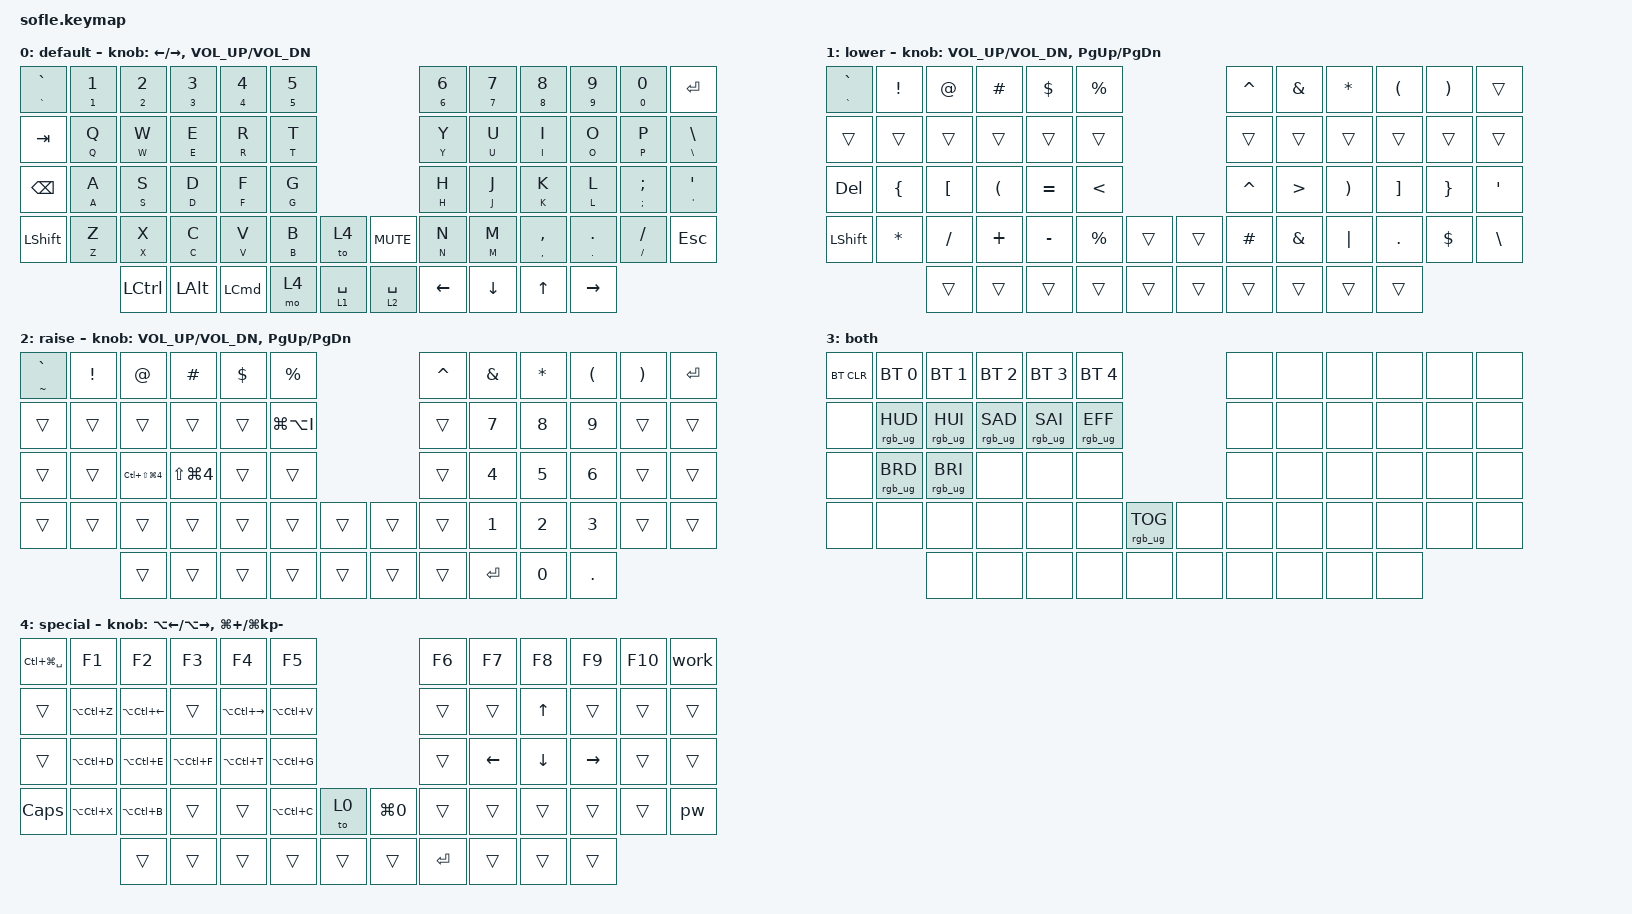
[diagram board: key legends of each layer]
/*
 * Copyright (c) 2020 The ZMK Contributors
 *
 * SPDX-License-Identifier: MIT
 */

#include <behaviors.dtsi>
#include <dt-bindings/zmk/bt.h>
#include <dt-bindings/zmk/keys.h>
#include <dt-bindings/zmk/rgb.h>

/ {
    macros {
        shift: with_lshift {
            compatible = "zmk,behavior-macro-one-param";
            #binding-cells = <1>;
            bindings =
                <&macro_press>,
                <&kp LSHFT>,
                <&macro_tap>,
                <&macro_param_1to1 &kp MACRO_PLACEHOLDER>,
                <&macro_release>,
                <&kp LSHFT>;

            label = "KEY_PRESS_WITH_LEFT_SHIFT_MODIFIER";
        };

        work: work {
            compatible = "zmk,behavior-macro";
            #binding-cells = <0>;
            bindings = <&kp E &kp M &kp M &kp A &kp L &kp Y &kp N &kp H &kp O &kp P &kp E &kp M &kp U &kp N &kp N0 &kp N2 &kp N1 &kp N3 &kp N2 &kp N4 &kp ENTER>;
            label = "WORK";
        };

        pw: pw {
            compatible = "zmk,behavior-macro";
            #binding-cells = <0>;
            bindings = <&kp A &kp S &kp D &kp F &kp G &kp H &kp J &kp K &kp L &kp SEMI &kp SQT &kp ENTER>;
            label = "PW";
        };
    };

    behaviors {
        as_ht: autoshift_hold_tap {
            compatible = "zmk,behavior-hold-tap";
            label = "AUTOSHIFT_HOLD_TAP";
            bindings = <&shift>, <&kp>;

            #binding-cells = <2>;
            tapping-term-ms = <190>;
            flavor = "tap-preferred";
            quick-tap-ms = <0>;
        };
    };

    conditional_layers {
        compatible = "zmk,conditional-layers";

        both {
            if-layers = <1 2>;
            then-layer = <3>;
        };
    };

    combos { compatible = "zmk,combos"; };

    keymap {
        compatible = "zmk,keymap";

        default_layer {
            label = "default";

            // ------------------------------------------------------------------------------------------------------------
            // |   `   |  1  |  2  |  3   |  4   |  5   |                   |  6   |  7    |  8    |  9   |   0   |       |
            // |  ESC  |  Q  |  W  |  E   |  R   |  T   |                   |  Y   |  U    |  I    |  O   |   P   | BKSPC |
            // |  TAB  |  A  |  S  |  D   |  F   |  G   |                   |  H   |  J    |  K    |  L   |   ;   |   '   |
            // | SHIFT |  Z  |  X  |  C   |  V   |  B   |  MUTE  |  |       |  N   |  M    |  ,    |  .   |   /   | SHIFT |
            //               | GUI | ALT  | CTRL | LOWER|  ENTER |  | SPACE | RAISE| CTRL  | ALT   | GUI  |

            bindings = <
&as_ht GRAVE GRAVE  &as_ht N1 N1  &as_ht N2 N2  &as_ht N3 N3  &as_ht N4 N4      &as_ht N5 N5                              &as_ht N6 N6  &as_ht N7 N7  &as_ht N8 N8        &as_ht N9 N9    &as_ht N0 N0      &kp ENTER
&kp TAB             &as_ht Q Q    &as_ht W W    &as_ht E E    &as_ht R R        &as_ht T T                                &as_ht Y Y    &as_ht U U    &as_ht I I          &as_ht O O      &as_ht P P        &as_ht BACKSLASH BACKSLASH
&kp BACKSPACE       &as_ht A A    &as_ht S S    &as_ht D D    &as_ht F F        &as_ht G G                                &as_ht H H    &as_ht J J    &as_ht K K          &as_ht L L      &as_ht SEMI SEMI  &as_ht SQT SQT
&kp LSHFT           &as_ht Z Z    &as_ht X X    &as_ht C C    &as_ht V V        &as_ht B B    &to 4          &kp C_MUTE   &as_ht N N    &as_ht M M    &as_ht COMMA COMMA  &as_ht DOT DOT  &as_ht FSLH FSLH  &kp ESC
                                  &kp LCTRL     &kp LALT      &kp LEFT_COMMAND  &mo 4         &lt 1 SPACE    &lt 2 SPACE  &kp LEFT      &kp DOWN      &kp UP_ARROW        &kp RIGHT
            >;

            sensor-bindings =
                <&inc_dec_kp LEFT RIGHT>,
                <&inc_dec_kp C_VOL_UP C_VOL_DN>;
        };

        lower_layer {
            label = "lower";

            // ------------------------------------------------------------------------------------------------------------
            // |       |  F1 |  F2 |  F3  |  F4  |  F5  |                   |  F6  |  F7   |  F8   |  F9  |  F10  |  F11  |
            // |   `   |  1  |  2  |  3   |  4   |  5   |                   |  6   |  7    |  8    |  9   |   0   |  F12  |
            // |       |  !  |  @  |  #   |  $   |  %   |                   |  ^   |  &    |  *    |  (   |   )   |   |   |
            // |       |  =  |  -  |  +   |  {   |  }   |        |  |       |  [   |  ]    |  ;    |  :   |   \   |       |
            //               |     |      |      |      |        |  |       |      |       |       |      |

            bindings = <
&as_ht GRAVE GRAVE  &kp EXCLAMATION  &kp AT_SIGN       &kp HASH              &kp DOLLAR  &kp PERCENT                      &kp CARET  &kp AMPERSAND     &kp ASTERISK           &kp LEFT_PARENTHESIS  &kp RIGHT_PARENTHESIS  &trans
&trans              &trans           &trans            &trans                &trans      &trans                           &trans     &trans            &trans                 &trans                &trans                 &trans
&kp DELETE          &kp LEFT_BRACE   &kp LEFT_BRACKET  &kp LEFT_PARENTHESIS  &kp EQUAL   &kp LESS_THAN                    &kp CARET  &kp GREATER_THAN  &kp RIGHT_PARENTHESIS  &kp RBKT              &kp RIGHT_BRACE        &kp SINGLE_QUOTE
&kp LSHFT           &kp ASTERISK     &kp SLASH         &kp PLUS              &kp MINUS   &kp PERCENT    &trans    &trans  &kp HASH   &kp AMPERSAND     &kp PIPE               &kp PERIOD            &kp DOLLAR             &kp BACKSLASH
                                     &trans            &trans                &trans      &trans         &trans    &trans  &trans     &trans            &trans                 &trans
            >;

            sensor-bindings = <&inc_dec_kp C_VOL_UP C_VOL_DN &inc_dec_kp PG_UP PG_DN>;
        };

        raise_layer {
            label = "raise";

            // ------------------------------------------------------------------------------------------------------------
            // | BTCLR | BT1  | BT2  |  BT3  |  BT4  |  BT5 |                |      |      |       |      |       |       |
            // |       | INS  | PSCR | GUI   |       |      |                | PGUP |      |   ^   |      |       |       |
            // |       | ALT  | CTRL | SHIFT |       | CAPS |                | PGDN |   <- |   v   |  ->  |  DEL  | BKSPC |
            // |       | UNDO | CUT  | COPY  | PASTE |      |      |  |      |      |      |       |      |       |       |
            //                |      |       |       |      |      |  |      |      |      |       |      |

            bindings = <
&mt TILDE GRAVE  &kp EXCLAMATION  &kp AT_SIGN               &kp HASH              &kp DOLLAR  &kp PERCENT                      &kp CARET  &kp AMPERSAND  &kp ASTERISK  &kp LEFT_PARENTHESIS  &kp RIGHT_PARENTHESIS  &kp ENTER
&trans           &trans           &trans                    &trans                &trans      &kp LG(LA(I))                    &trans     &kp N7         &kp N8        &kp N9                &trans                 &trans
&trans           &trans           &kp LC(LS(LG(NUMBER_4)))  &kp LS(LG(NUMBER_4))  &trans      &trans                           &trans     &kp NUMBER_4   &kp N5        &kp NUMBER_6          &trans                 &trans
&trans           &trans           &trans                    &trans                &trans      &trans         &trans    &trans  &trans     &kp NUMBER_1   &kp NUMBER_2  &kp NUMBER_3          &trans                 &trans
                                  &trans                    &trans                &trans      &trans         &trans    &trans  &trans     &kp ENTER      &kp N0        &kp DOT
            >;

            sensor-bindings = <&inc_dec_kp C_VOL_UP C_VOL_DN &inc_dec_kp PG_UP PG_DN>;
        };

        both_layer {
            // ----------------------------------------------------------------------------------------------------------------------------
            // | BTCLR  |  BT1    |  BT2    |   BT3   |   BT4   |   BT5   |                  |      |      |       |      |       |       |
            // | EXTPWR | RGB_HUD | RGB_HUI | RGB_SAD | RGB_SAI | RGB_EFF |                  |      |      |       |      |       |       |
            // |        | RGB_BRD | RGB_BRI |         |         |         |                  |      |      |       |      |       |       |
            // |        |         |         |         |         |         | RGB_TOG | |      |      |      |       |      |       |       |
            //                    |         |         |         |         |         | |      |      |      |       |      |

            label = "both";
            bindings = <
&bt BT_CLR  &bt BT_SEL 0     &bt BT_SEL 1     &bt BT_SEL 2     &bt BT_SEL 3     &bt BT_SEL 4                               &none  &none  &none  &none  &none  &none
&none       &rgb_ug RGB_HUD  &rgb_ug RGB_HUI  &rgb_ug RGB_SAD  &rgb_ug RGB_SAI  &rgb_ug RGB_EFF                            &none  &none  &none  &none  &none  &none
&none       &rgb_ug RGB_BRD  &rgb_ug RGB_BRI  &none            &none            &none                                      &none  &none  &none  &none  &none  &none
&none       &none            &none            &none            &none            &none            &rgb_ug RGB_TOG    &none  &none  &none  &none  &none  &none  &none
                             &none            &none            &none            &none            &none              &none  &none  &none  &none  &none
            >;
        };

        special {
            label = "special";
            bindings = <
&kp LC(LG(SPACE))  &kp F1         &kp F2            &kp F3         &kp F4             &kp F5                               &kp F6     &kp F7    &kp F8        &kp F9     &kp F10  &work
&trans             &kp LA(LC(Z))  &kp LA(LC(LEFT))  &trans         &kp LA(LC(RIGHT))  &kp LA(LC(V))                        &trans     &trans    &kp UP_ARROW  &trans     &trans   &trans
&trans             &kp LA(LC(D))  &kp LA(LC(E))     &kp LA(LC(F))  &kp LA(LC(T))      &kp LA(LC(G))                        &trans     &kp LEFT  &kp DOWN      &kp RIGHT  &trans   &trans
&kp CAPSLOCK       &kp LA(LC(X))  &kp LA(LC(B))     &trans         &trans             &kp LA(LC(C))  &to 0     &kp LG(N0)  &trans     &trans    &trans        &trans     &trans   &pw
                                  &trans            &trans         &trans             &trans         &trans    &trans      &kp ENTER  &trans    &trans        &trans
            >;

            sensor-bindings =
                <&inc_dec_kp LA(LEFT) LA(RIGHT)>,
                <&inc_dec_kp LG(PLUS) LG(KP_MINUS)>;
        };
    };
};
